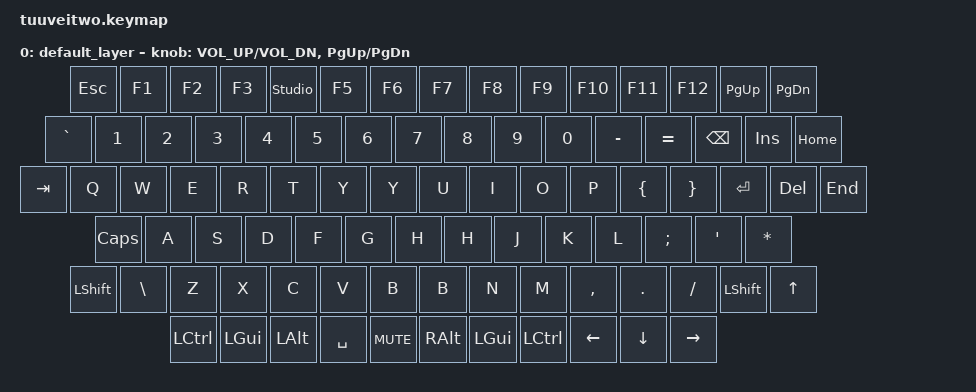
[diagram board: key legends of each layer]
/*
 * Copyright (c) 2022 The ZMK Contributors
 *
 * SPDX-License-Identifier: MIT
 */

#include <behaviors.dtsi>
#include <dt-bindings/zmk/keys.h>
#include <dt-bindings/zmk/bt.h>


/ {


        keymap {
                compatible = "zmk,keymap";

            default_layer {

        bindings = <
       &kp ESC           &kp F1   &kp F2   &kp F3   &studio_unlock             &kp F5   &kp F6   &kp F7   &kp F8       &kp F9   &kp F10  &kp F11  &kp F12    &kp PG_UP &kp PG_DN
       &kp GRAVE  &kp N1    &kp N2    &kp N3    &kp N4    &kp N5    &kp N6             &kp N7    &kp N8    &kp N9    &kp N0    &kp MINUS &kp EQUAL  &kp BSPC            &kp INS  &kp HOME
       &kp TAB      &kp Q    &kp W    &kp E    &kp R    &kp T    &kp Y         &kp Y    &kp U    &kp I    &kp O    &kp P    &kp LBRC &kp RBRC   &kp ENTER      &kp DEL  &kp END
       &kp CAPS       &kp A    &kp S    &kp D    &kp F    &kp G    &kp H           &kp H    &kp J    &kp K    &kp L    &kp SEMI &kp SQT &kp ASTRK
       &kp LSHFT   &kp BSLH &kp Z    &kp X    &kp C    &kp V    &kp B          &kp B     &kp N    &kp M    &kp COMMA &kp DOT  &kp SLASH &kp LSHFT &kp UP
       &kp LCTRL   &kp LGUI   &kp LALT   &kp SPACE    &kp C_MUTE                  &kp RALT   &kp LGUI    &kp LCTRL       &kp LEFT &kp DOWN &kp RIGHT
        >;

        sensor-bindings = <&inc_dec_kp C_VOL_UP C_VOL_DN &inc_dec_kp PG_UP PG_DN>;
    };
    };
};

/*
 *      &kp ESC,           &kp F1,   &kp F2,   &kp F3,   &kp F4,         &kp F5,   &kp F6,   &kp F7,   &kp F8,       &kp F9,   &kp F10,  &kp F11,  &kp F12,    &kp PG_UP, &kp PG_DN,
 *      &kp GRAVE,  &kp N1,    &kp N2,    &kp N3,    &kp N4,    &kp N5,    &kp N6,             &kp N7,    &kp N8,    &kp N9,    &kp N0,    &kp MINUS, &kp EQUAL,  &kp BSPC,            &kp INS,  &kp HOME,
 *      &kp TAB,      &kp Q,    &kp W,    &kp E,    &kp R,    &kp T,    &kp Y,         &kp Y,    &kp U,    &kp I,    &kp O,    &kp P,    &kp LBRC, &kp RBRC,   &kp ENT,      &kp DEL,  &kp END,
 *      &kp CAPS,       &kp A,    &kp S,    &kp D,    &kp F,    &kp G,    &kp H,           &kp H,    &kp J,    &kp K,    &kp L,    &kp SCLN, &kp QUOT, &kp ASTR,
 *      &kp LSFT,   &kp BSLS, &kp Z,    &kp X,    &kp C,    &kp V,    &kp B,          &kp B,     &kp N,    &kp M,    &kp COMM, &kp DOT,  &kp SLSH, &kp LSFT,                   &kp UP,
 *      &kp LCTL,   &kp LGUI,   &kp LALT,   &kp SPC,    &kp PRINT_SCREEN,           &kp SPC,                  &kp RALT,   &kp LGUI,    &kp LCTL,       &kp LEFT, &kp DOWN, &kp RGHT
*/
